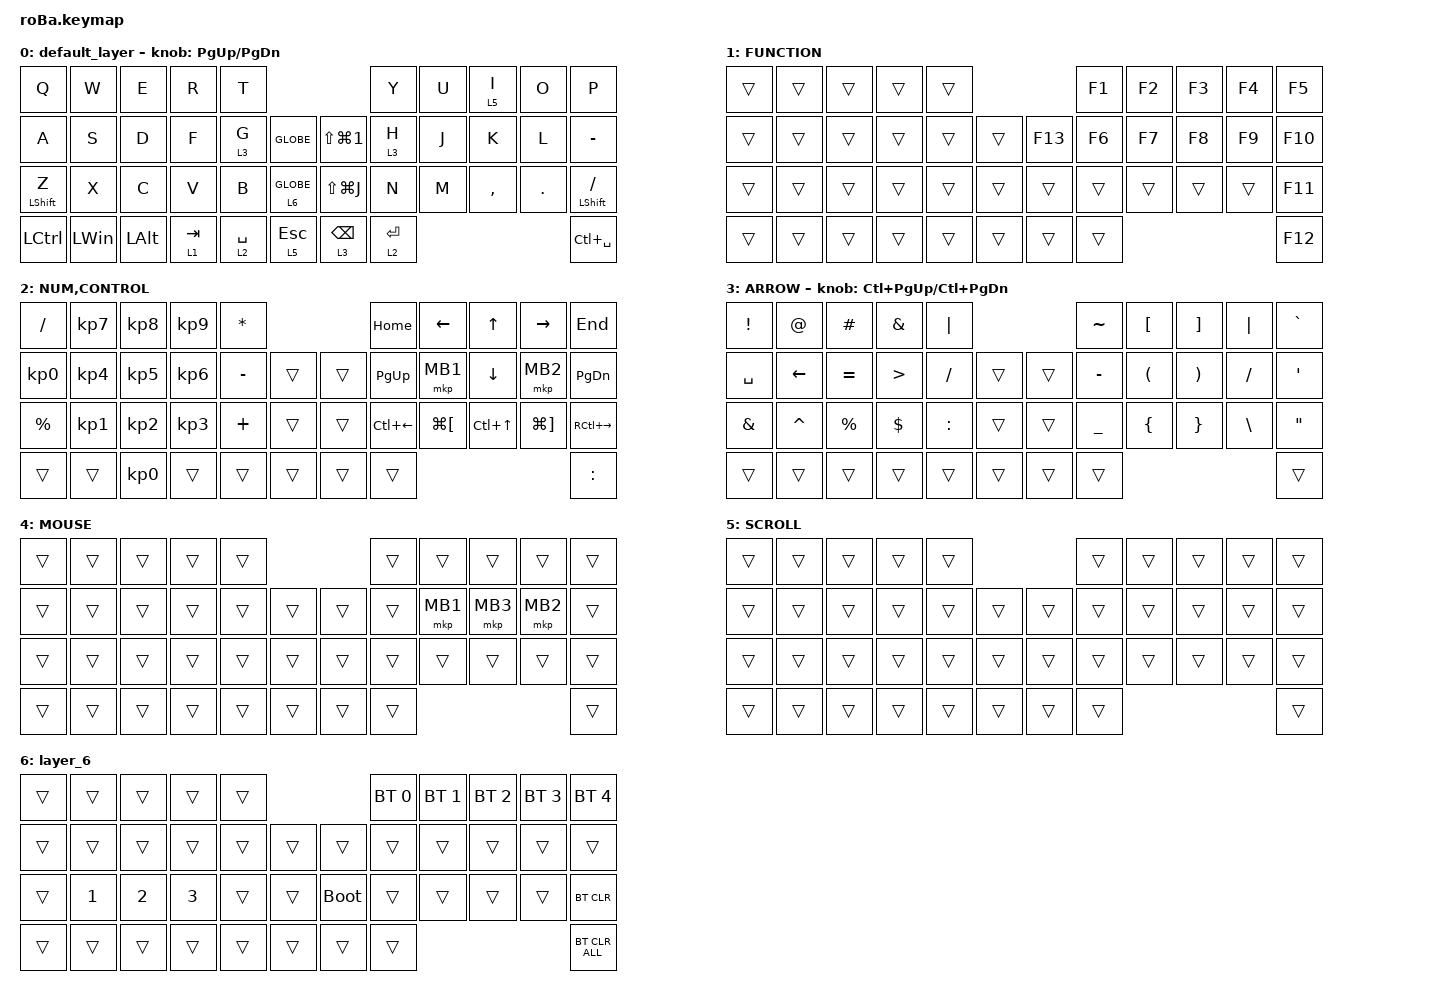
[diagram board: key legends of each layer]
#include <behaviors.dtsi>
#include <dt-bindings/zmk/bt.h>
#include <dt-bindings/zmk/keys.h>
#include <dt-bindings/zmk/pointing.h>

&mt {
    flavor = "balanced";
    quick-tap-ms = <0>;
};

&trackball {
    automouse-layer = <4>;
    scroll-layers = <5>;

    // arrows {
    //     layers = <3>;
    //     bindings =
    //         <&kp RIGHT_ARROW>,
    //         <&kp LEFT_ARROW>,
    //         <&kp UP_ARROW>,
    //         <&kp DOWN_ARROW>;
    //     tick = <10>;
    //     wait-ms = <5>;
    //     tap-ms = <5>;
    // };
};

/ {
    combos {
        compatible = "zmk,combos";

        tab {
            bindings = <&kp TAB>;
            key-positions = <11 12>;
        };

        shift_tab {
            bindings = <&kp LS(TAB)>;
            key-positions = <12 13>;
        };

        muhennkann {
            bindings = <&to_layer_0 INT_MUHENKAN>;
            key-positions = <11 10>;
        };

        double_quotation {
            bindings = <&kp DOUBLE_QUOTES>;
            key-positions = <20 21>;
        };

        eq {
            bindings = <&kp EQUAL>;
            key-positions = <24 25>;
        };
    };

    macros {
        to_layer_0: to_layer_0 {
            compatible = "zmk,behavior-macro-one-param";
            #binding-cells = <1>;
            bindings = <&to 0 &macro_param_1to1 &kp MACRO_PLACEHOLDER>;
            label = "TO_LAYER_0";
        };
    };

    behaviors {
        lt_to_layer_0: lt_to_layer_0 {
            compatible = "zmk,behavior-hold-tap";
            label = "LAYER_TAP_TO_0";
            bindings = <&mo>, <&to_layer_0>;

            #binding-cells = <2>;
            tapping-term-ms = <200>;
        };
    };

    keymap {
        compatible = "zmk,keymap";

        default_layer {
            bindings = <
&kp Q             &kp W         &kp E         &kp R                 &kp T                                                                       &kp Y               &kp U  &lt 5 I    &kp O    &kp P
&kp A             &kp S         &kp D         &kp F                 &lt_to_layer_0 3 G  &kp GLOBE                   &kp LS(LG(NUMBER_1))        &lt_to_layer_0 3 H  &kp J  &kp K      &kp L    &kp MINUS
&mt LEFT_SHIFT Z  &kp X         &kp C         &kp V                 &kp B               &lt_to_layer_0 6 GLOBE      &kp LS(LG(J))               &kp N               &kp M  &kp COMMA  &kp DOT  &mt LEFT_SHIFT SLASH
&kp LCTRL         &kp LEFT_WIN  &kp LEFT_ALT  &lt_to_layer_0 1 TAB  &lt 2 SPACE         &lt_to_layer_0 5 ESC        &lt_to_layer_0 3 BACKSPACE  &lt 2 ENTER                                    &kp LC(SPACE)
            >;

            sensor-bindings = <&inc_dec_kp PG_UP PAGE_DOWN>;
        };

        FUNCTION {
            bindings = <
&trans  &trans  &trans  &trans  &trans                       &kp F1  &kp F2  &kp F3  &kp F4  &kp F5
&trans  &trans  &trans  &trans  &trans  &trans      &kp F13  &kp F6  &kp F7  &kp F8  &kp F9  &kp F10
&trans  &trans  &trans  &trans  &trans  &trans      &trans   &trans  &trans  &trans  &trans  &kp F11
&trans  &trans  &trans  &trans  &trans  &trans      &trans   &trans                          &kp F12
            >;
        };

        NUM,CONTROL {
            bindings = <
&kp SLASH        &kp KP_NUMBER_7  &kp KP_NUMBER_8  &kp KP_NUMBER_9  &kp STAR                       &kp HOME      &kp LEFT              &kp UP_ARROW      &kp RIGHT              &kp END
&kp KP_NUMBER_0  &kp KP_NUMBER_4  &kp KP_NUMBER_5  &kp KP_NUMBER_6  &kp MINUS  &trans      &trans  &kp PAGE_UP   &mkp MB1              &kp DOWN          &mkp MB2               &kp PAGE_DOWN
&kp PERCENT      &kp KP_NUMBER_1  &kp KP_NUMBER_2  &kp KP_NUMBER_3  &kp PLUS   &trans      &trans  &kp LC(LEFT)  &kp LG(LEFT_BRACKET)  &kp LC(UP_ARROW)  &kp LG(RIGHT_BRACKET)  &kp RC(RIGHT)
&trans           &trans           &kp KP_NUMBER_0  &trans           &trans     &trans      &trans  &trans                                                                       &kp COLON
            >;
        };

        ARROW {
            bindings = <
&kp EXCLAMATION  &kp AT_SIGN     &kp HASH     &kp AMPERSAND     &kp PIPE                       &kp TILDE       &kp LEFT_BRACKET      &kp RIGHT_BRACKET      &kp PIPE       &kp GRAVE
&kp SPACE        &kp LEFT_ARROW  &kp EQUAL    &kp GREATER_THAN  &kp SLASH  &trans      &trans  &kp MINUS       &kp LEFT_PARENTHESIS  &kp RIGHT_PARENTHESIS  &kp SLASH      &kp SQT
&kp AMPERSAND    &kp CARET       &kp PERCENT  &kp DOLLAR        &kp COLON  &trans      &trans  &kp UNDERSCORE  &kp LEFT_BRACE        &kp RIGHT_BRACE        &kp BACKSLASH  &kp DOUBLE_QUOTES
&trans           &trans          &trans       &trans            &trans     &trans      &trans  &trans                                                                      &trans
            >;

            sensor-bindings = <&inc_dec_kp LC(PAGE_UP) LC(PAGE_DOWN)>;
        };

        MOUSE {
            bindings = <
&trans  &trans  &trans  &trans  &trans                      &trans  &trans    &trans    &trans    &trans
&trans  &trans  &trans  &trans  &trans  &trans      &trans  &trans  &mkp MB1  &mkp MB3  &mkp MB2  &trans
&trans  &trans  &trans  &trans  &trans  &trans      &trans  &trans  &trans    &trans    &trans    &trans
&trans  &trans  &trans  &trans  &trans  &trans      &trans  &trans                                &trans
            >;
        };

        SCROLL {
            bindings = <
&trans  &trans  &trans  &trans  &trans                      &trans  &trans  &trans  &trans  &trans
&trans  &trans  &trans  &trans  &trans  &trans      &trans  &trans  &trans  &trans  &trans  &trans
&trans  &trans  &trans  &trans  &trans  &trans      &trans  &trans  &trans  &trans  &trans  &trans
&trans  &trans  &trans  &trans  &trans  &trans      &trans  &trans                          &trans
            >;
        };

        layer_6 {
            bindings = <
&trans  &trans        &trans        &trans        &trans                           &bt BT_SEL 0  &bt BT_SEL 1  &bt BT_SEL 2  &bt BT_SEL 3  &bt BT_SEL 4
&trans  &trans        &trans        &trans        &trans  &trans      &trans       &trans        &trans        &trans        &trans        &trans
&trans  &kp NUMBER_1  &kp NUMBER_2  &kp NUMBER_3  &trans  &trans      &bootloader  &trans        &trans        &trans        &trans        &bt BT_CLR
&trans  &trans        &trans        &trans        &trans  &trans      &trans       &trans                                                  &bt BT_CLR_ALL
            >;
        };
    };
};
